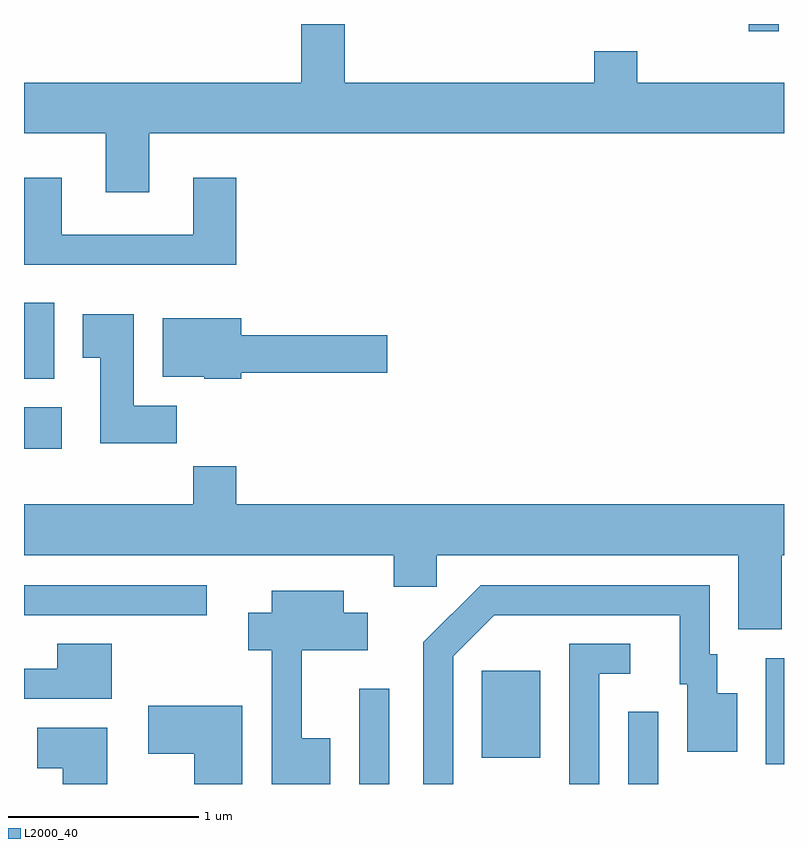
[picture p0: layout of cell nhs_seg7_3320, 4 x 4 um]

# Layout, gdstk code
import gdstk
lib = gdstk.Library(unit=1e-6, precision=1e-09)
def R(c, l, rs):  # rectangles x0, y0, x1, y1
    for r in rs: c.add(gdstk.rectangle(r[:2], r[2:], *l))
def P(c, l, *ps):  # polygons
    for p in ps: c.add(gdstk.Polygon(p, *l))
L2000_40 = (2000, 40)

nhs_seg7_3320 = lib.new_cell('nhs_seg7_3320')
R(nhs_seg7_3320, L2000_40, [(289.376,1684.252,289.534,1684.753), (290.791,1684.252,290.949,1684.633), (291.516,1684.356,291.611,1684.914), (290.021,1684.391,290.329,1684.849), (287.611,1685.141,288.573,1685.299), (287.611,1686.016,287.809,1686.234), (287.611,1686.386,287.769,1686.784), (291.426,1688.213,291.584,1688.252)])
P(nhs_seg7_3320, L2000_40, [(288.269,1687.676),(291.611,1687.676),(291.611,1687.944),(290.839,1687.944),(290.839,1688.109),(290.611,1688.109),(290.611,1687.944),(289.299,1687.944),(289.299,1688.252),(289.071,1688.252),(289.071,1687.944),(287.611,1687.944),(287.611,1687.676),(288.041,1687.676),(288.041,1687.366),(288.269,1687.366)],
  [(288.729,1687.444),(288.501,1687.444),(288.501,1687.144),(287.809,1687.144),(287.809,1687.444),(287.611,1687.444),(287.611,1686.986),(288.729,1686.986)],
  [(288.414,1686.244),(288.189,1686.244),(288.189,1686.724),(287.921,1686.724),(287.921,1686.496),(288.011,1686.496),(288.011,1686.046),(288.414,1686.046)],
  [(288.754,1686.416),(289.524,1686.416),(289.524,1686.614),(288.754,1686.614),(288.754,1686.704),(288.341,1686.704),(288.341,1686.396),(288.56,1686.396),(288.56,1686.386),(288.754,1686.386)],
  [(291.599,1685.456),(291.611,1685.456),(291.611,1685.724),(288.729,1685.724),(288.729,1685.924),(288.501,1685.924),(288.501,1685.724),(287.611,1685.724),(287.611,1685.456),(289.556,1685.456),(289.556,1685.291),(289.784,1685.291),(289.784,1685.456),(291.371,1685.456),(291.371,1685.066),(291.599,1685.066)],
  [(289.869,1684.924),(290.087,1685.141),(291.061,1685.141),(291.061,1684.776),(291.101,1684.776),(291.101,1684.421),(291.364,1684.421),(291.364,1684.729),(291.259,1684.729),(291.259,1684.934),(291.219,1684.934),(291.219,1685.299),(290.014,1685.299),(289.711,1684.997),(289.711,1684.252),(289.869,1684.252)],
  [(289.224,1684.494),(289.074,1684.494),(289.074,1684.956),(289.419,1684.956),(289.419,1685.154),(289.294,1685.154),(289.294,1685.269),(288.916,1685.269),(288.916,1685.154),(288.791,1685.154),(288.791,1684.956),(288.916,1684.956),(288.916,1684.252),(289.224,1684.252)],
  [(290.639,1684.831),(290.803,1684.831),(290.803,1684.989),(290.481,1684.989),(290.481,1684.252),(290.639,1684.252)],
  [(288.074,1684.989),(287.786,1684.989),(287.786,1684.859),(287.611,1684.859),(287.611,1684.701),(288.074,1684.701)],
  [(288.759,1684.664),(288.266,1684.664),(288.266,1684.411),(288.506,1684.411),(288.506,1684.252),(288.759,1684.252)],
  [(288.049,1684.549),(287.681,1684.549),(287.681,1684.336),(287.816,1684.336),(287.816,1684.252),(288.049,1684.252)])

lib.write_gds('nhs_seg7_3320.gds')
